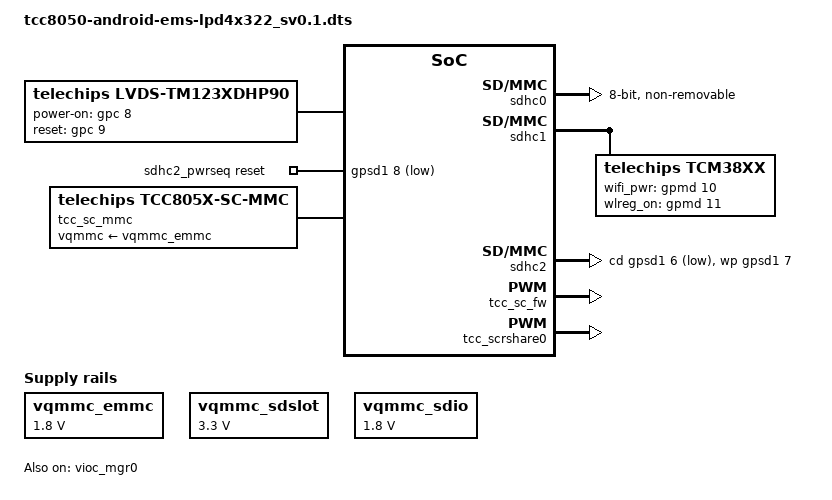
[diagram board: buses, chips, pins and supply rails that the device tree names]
// SPDX-License-Identifier: (GPL-2.0-or-later OR MIT)
/*
 * Copyright (C) Telechips Inc.
 * Device tree for Telechips TCC8050 AVN board
 */

#ifndef DT_OVERLAY
/dts-v1/;
#endif

#include "tcc8050-android-ems.dtsi"
#include "tcc8050-android-ems-display.dtsi"

/ {
	/* Describe here after remove this statement if you have something to be override. */
	tm123xdhp90 {
		compatible = "telechips,lvds-tm123xdhp90";
		status = "okay";
		lvds0 = <&lvds_phy>;
		power-on-gpios = <&gpc 8 0>;   // LCD_ON
		reset-gpios = <&gpc 9 0>;    // LCD_RST
		/*
			 display-on-gpios = ;    // LCD_DISP
			 lvds-stby-gpios = ;   // LCD_DE = LVDS_STBY in LVDS
			 lvds-power-gpios = ;    // LVDS_EN
			 lvds-power-gpios1 = ;   // V_5V0_EN
		 */
		mode = <1>;   /* 0: single 1: dual */
		ports = <2 3>;
		mux-select = <2>;
	};

	vqmmc_emmc: vqmmc_emmc {
		compatible = "regulator-fixed";
		regulator-name = "vqmmc_emmc";
		regulator-min-microvolt = <1800000>;
		regulator-max-microvolt = <1800000>;
		regulator-always-on;
	};

	sdhc2_pwrseq: sdhc2_pwrseq {
		compatible = "mmc-pwrseq-simple";
		reset-gpios = <&gpsd1 8 GPIO_ACTIVE_LOW>;
	};

	vqmmc_sdslot: vqmmc_sdslot {
		compatible = "regulator-fixed";
		regulator-name = "vqmmc_sdslot";
		regulator-min-microvolt = <3300000>;
		regulator-max-microvolt = <3300000>;
		regulator-always-on;
	};

	vqmmc_sdio: vqmmc_sdio {
		compatible = "regulator-fixed";
		regulator-name = "vqmmc_sdio";
		regulator-min-microvolt = <1800000>;
		regulator-max-microvolt = <1800000>;
		regulator-always-on;
	};

	tcc_sc_mmc: tcc_sc_mmc {
		compatible = "telechips,tcc805x-sc-mmc";
		status = "okay";

		max-frequency = <200000000>;
		bus-width = <8>;

		sc-firmware = <&tcc_sc_fw>;

		no-sdio;
		no-sd;
		non-removable;
		keep-power-in-suspend;
		disable-wp;

		mmc-hs400-1_8v;
		vqmmc-supply = <&vqmmc_emmc>;
	};
};

/* eMMC */
&sdhc0 {
	bus-width = <8>;
	pinctrl-names = "default";
	pinctrl-0 = <&sd0_clk &sd0_cmd &sd0_bus8 &sd0_strb>;

	sdhci-caps-mask = <0x7 0x0>;

	non-removable;
	keep-power-in-suspend;
	disable-wp;
	cap-mmc-hw-reset;

	mmc-hs400-1_8v;
	mmc-hs400-enhanced-strobe;
	tcc-mmc-taps = <0xF 0xF 0xF 0xF>;
	tcc-mmc-hs400-pos-tap = <0x6>;
	tcc-mmc-hs400-neg-tap = <0xB>;

	tcc-mmc-reset = <&gpsd0 14 0>;

	vqmmc-supply = <&vqmmc_emmc>;
};

&sd0_clk {
	telechips,no-pull;
};

&sd0_cmd {
	telechips,no-pull;
};

&sd0_bus8 {
	telechips,no-pull;
};

/* SDIO */
&sdhc1 {
	status = "okay";
	pinctrl-names = "default";
	pinctrl-0 = <&sd1_clk &sd1_cmd &sd1_bus4 &out0_clk>;

	keep-power-in-suspend;
	cap-sdio-irq;

	vqmmc-supply = <&vqmmc_sdio>;

	cd-force-presence-change;

	tcm38xx {
		compatible = "telechips,tcm38xx";
		wifi_pwr-gpio = <&gpmd 10 0>; /* BT_WIFI_VBAT_EN */
		wlreg_on-gpio = <&gpmd 11 0>; /* WIFI_REG_ON */
		//wifi_pwr_1p8v-gpio = <&gpsd1 6 0>;
		//wifi_pwr_3p3v-gpio = <&gpsd1 7 0>;
	};
};

&sd1_clk {
	telechips,pull-up;
};

&sd1_cmd {
	telechips,pull-up;
};

&sd1_bus4 {
	telechips,pull-up;
};

/* SD slot */
&sdhc2 {
#ifdef CONFIG_MMC_SDHCI_TCC_MODULE_ONLY
	/*
	 * In order to reduce boot time,
	 * we use the driver as module not built-in.
	 */
	compatible = "telechips,tcc805x-sdhci,module-only";
#endif
	status = "okay";
	pinctrl-names = "default";
	pinctrl-0 = <&sd2_clk &sd2_cmd &sd2_bus4 &sd1_bus4_wp_cd &sd1_pwr>;

	broken-cd;
	cd-inverted;
	keep-power-in-suspend;

	wp-gpios = <&gpsd1 7 0>;
	cd-gpios = <&gpsd1 6 0>;

	mmc-pwrseq = <&sdhc2_pwrseq>;
	vqmmc-supply = <&vqmmc_sdslot>;
};

&sd2_clk {
	telechips,no-pull;
};

&sd2_cmd {
	telechips,no-pull;
};

&sd2_bus4 {
	telechips,no-pull;
};

&a72_sc_mbox {
	status = "okay";
};

&tcc_sc_fw {
	status = "okay";
	mboxes = <&a72_sc_mbox 0>;
};

&tcc_scrshare0{
        status = "okay";
};

&vioc_mgr0 {
        status = "okay";
};

&rotary_encoder0 {
	compatible = "rotary-encoder";
	status = "disable";                  //To use it, change the status from disable to okay
	//pinctrl-names = "default";
	//pinctrl-0 = <&mc_vol>;			//Set gpio to match device
										//Interruptable gpio should be used
	//gpios = <&gpma 5 1>, <&gpma 6 1>;	//Set gpio to match device
										//Interruptable gpio should be used
	linux,axis = <0>;
	rotary-encoder,relative-axis;
};

&rotary_encoder1 {
	compatible = "rotary-encoder";
	status = "disable";                 //To use it, change the status from disable to okay
	//pinctrl-names = "default";
	//pinctrl-0 = <&mc_ctr>;			//Set gpio to match device
										//Interruptable gpio should be used
	//gpios = <&gpma 7 1>, <&gpma 8 1>; //Set gpio to match device
										//Interruptable gpio should be used
	linux,axis = <0>;
	rotary-encoder,relative-axis;
};
